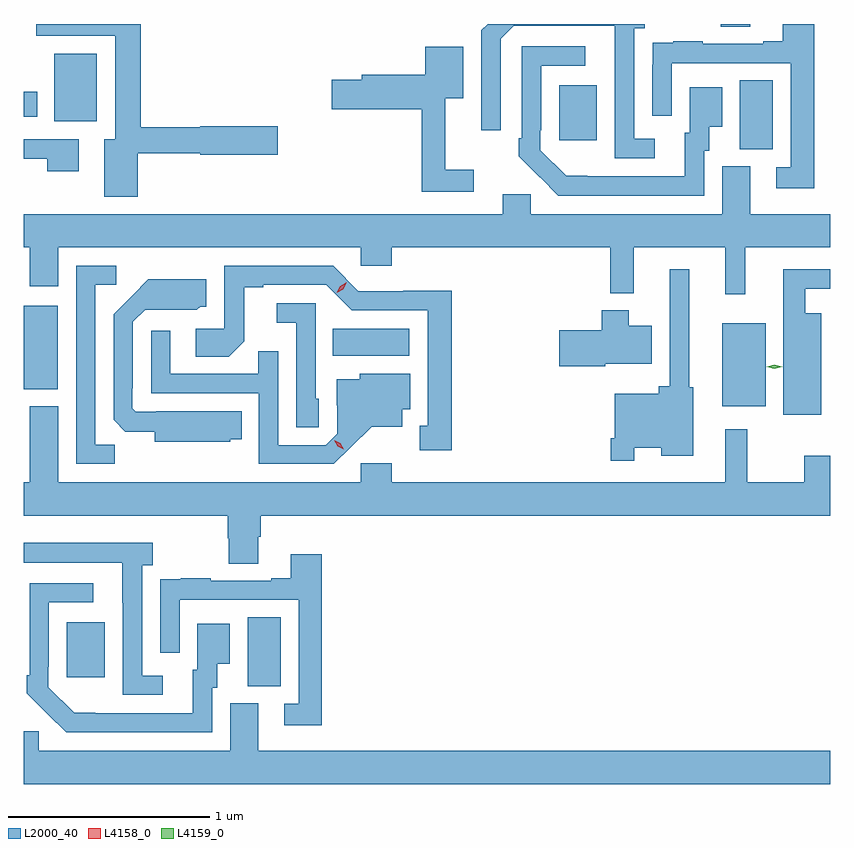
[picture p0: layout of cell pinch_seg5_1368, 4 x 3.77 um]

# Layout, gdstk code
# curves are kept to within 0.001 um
import gdstk
lib = gdstk.Library(unit=1e-6, precision=1e-09)
def R(c, l, rs):  # rectangles x0, y0, x1, y1
    for r in rs: c.add(gdstk.rectangle(r[:2], r[2:], *l))
def P(c, l, *ps):  # polygons
    for p in ps: c.add(gdstk.Polygon(p, *l))
L2000_40 = (2000, 40)
L4158_0 = (4158, 0)
L4159_0 = (4159, 0)

pinch_seg5_1368 = lib.new_cell('pinch_seg5_1368')
R(pinch_seg5_1368, L2000_40, [(131.84,905.197,132.004,905.54), (130.943,905.241,131.131,905.515), (134.195,906.587,134.41,906.997), (130.73,906.671,130.897,907.084), (132.262,906.836,132.643,906.97), (134.282,907.861,134.446,908.204), (133.385,907.905,133.573,908.179), (130.88,908,131.092,908.335), (130.73,908.024,130.795,908.146), (134.188,908.47,134.335,908.483)])
P(pinch_seg5_1368, L2000_40, [(134.651,908.483),(134.495,908.483),(134.495,908.398),(134.399,908.398),(134.399,908.385),(134.099,908.385),(134.099,908.398),(133.951,908.398),(133.951,908.391),(133.849,908.391),(133.849,908.282),(133.848,908.282),(133.848,908.028),(133.944,908.028),(133.944,908.289),(134.535,908.289),(134.535,907.773),(134.463,907.773),(134.463,907.668),(134.651,907.668)],
  [(131.296,907.842),(131.604,907.842),(131.604,907.834),(131.989,907.834),(131.989,907.976),(131.604,907.976),(131.604,907.97),(131.309,907.97),(131.309,908.483),(130.791,908.483),(130.791,908.424),(131.183,908.424),(131.183,907.912),(131.129,907.912),(131.129,907.626),(131.296,907.626)],
  [(133.861,907.914),(133.758,907.914),(133.758,908.462),(133.81,908.462),(133.81,908.483),(133.031,908.483),(132.999,908.451),(132.999,907.956),(133.095,907.956),(133.095,908.409),(133.161,908.475),(133.661,908.475),(133.662,907.818),(133.861,907.818)],
  [(134.106,907.854),(134.131,907.854),(134.131,907.973),(134.194,907.973),(134.194,908.17),(134.033,908.17),(134.033,907.944),(134.009,907.944),(134.009,907.728),(133.422,907.729),(133.293,907.857),(133.293,907.957),(133.296,907.957),(133.296,908.277),(133.516,908.277),(133.516,908.373),(133.2,908.373),(133.2,907.915),(133.185,907.915),(133.185,907.827),(133.382,907.632),(134.106,907.632)],
  [(132.961,907.759),(132.821,907.759),(132.821,908.114),(132.91,908.114),(132.91,908.371),(132.722,908.371),(132.722,908.232),(132.407,908.232),(132.407,908.207),(132.258,908.207),(132.258,908.06),(132.703,908.06),(132.703,907.65),(132.961,907.65)],
  [(131.002,907.911),(130.73,907.911),(130.73,907.815),(130.846,907.815),(130.846,907.752),(131.002,907.752)],
  [(134.309,907.376),(134.73,907.376),(134.73,907.54),(134.335,907.54),(134.335,907.776),(134.195,907.776),(134.195,907.54),(133.245,907.54),(133.245,907.638),(133.106,907.638),(133.106,907.54),(130.73,907.54),(130.73,907.376),(130.76,907.376),(130.76,907.182),(130.9,907.182),(130.9,907.376),(132.402,907.376),(132.402,907.283),(132.554,907.283),(132.554,907.376),(133.639,907.376),(133.639,907.148),(133.757,907.148),(133.757,907.376),(134.21,907.376),(134.21,907.143),(134.309,907.143)],
  [(131.181,906.395),(131.085,906.395),(131.085,907.188),(131.188,907.188),(131.188,907.284),(130.989,907.284),(130.989,906.3),(131.181,906.3)],
  [(132.853,907.16),(132.612,907.16),(132.612,907.158),(132.39,907.158),(132.264,907.284),(131.724,907.284),(131.724,906.972),(131.583,906.972),(131.583,906.832),(131.747,906.832),(131.823,906.908),(131.823,907.176),(131.917,907.176),(131.917,907.188),(132.231,907.188),(132.357,907.062),(132.734,907.062),(132.734,906.489),(132.695,906.489),(132.695,906.369),(132.853,906.369)],
  [(133.759,906.38),(133.892,906.38),(133.892,906.341),(134.05,906.341),(134.05,906.681),(134.032,906.681),(134.032,907.267),(133.935,907.267),(133.935,906.685),(133.88,906.685),(133.88,906.649),(133.662,906.649),(133.662,906.427),(133.642,906.427),(133.642,906.315),(133.759,906.315)],
  [(134.686,907.048),(134.608,907.048),(134.608,907.17),(134.73,907.17),(134.73,907.266),(134.498,907.266),(134.498,906.545),(134.686,906.545)],
  [(131.754,906.422),(131.81,906.422),(131.81,906.562),(131.386,906.562),(131.386,906.558),(131.286,906.558),(131.268,906.576),(131.268,906.676),(131.271,906.676),(131.271,907.005),(131.331,907.065),(131.588,907.064),(131.604,907.08),(131.635,907.08),(131.635,907.216),(131.347,907.216),(131.175,907.042),(131.175,906.52),(131.234,906.461),(131.378,906.461),(131.378,906.41),(131.754,906.41)],
  [(132.192,906.624),(132.177,906.624),(132.177,907.098),(131.985,907.098),(131.985,907.001),(132.081,907.001),(132.081,906.481),(132.192,906.481)],
  [(133.614,906.797),(133.846,906.797),(133.846,906.985),(133.732,906.985),(133.732,907.063),(133.598,907.063),(133.598,906.963),(133.386,906.963),(133.386,906.785),(133.614,906.785)],
  [(132.352,906.383),(132.455,906.485),(132.607,906.485),(132.607,906.572),(132.646,906.572),(132.646,906.748),(132.396,906.748),(132.396,906.721),(132.281,906.721),(132.281,906.592),(132.285,906.592),(132.285,906.45),(132.228,906.393),(131.991,906.393),(131.991,906.86),(131.893,906.86),(131.893,906.747),(131.457,906.747),(131.457,906.961),(131.361,906.961),(131.361,906.651),(131.895,906.651),(131.895,906.3),(132.268,906.3)],
  [(131.893,905.938),(131.906,905.938),(131.906,906.044),(134.73,906.044),(134.73,906.34),(134.602,906.34),(134.602,906.208),(134.32,906.208),(134.32,906.472),(134.21,906.472),(134.21,906.208),(132.554,906.208),(132.554,906.304),(132.402,906.304),(132.402,906.208),(130.9,906.208),(130.9,906.586),(130.76,906.586),(130.76,906.208),(130.73,906.208),(130.73,906.044),(131.741,906.044),(131.741,905.931),(131.746,905.931),(131.746,905.806),(131.893,905.806)],
  [(131.419,905.25),(131.316,905.25),(131.316,905.798),(131.368,905.798),(131.368,905.908),(130.73,905.908),(130.73,905.811),(131.219,905.811),(131.219,905.611),(131.22,905.611),(131.22,905.154),(131.419,905.154)],
  [(132.209,905.851),(132.053,905.851),(132.053,905.734),(131.957,905.734),(131.957,905.721),(131.657,905.721),(131.657,905.734),(131.509,905.734),(131.509,905.727),(131.407,905.727),(131.407,905.618),(131.406,905.618),(131.406,905.364),(131.502,905.364),(131.502,905.625),(132.093,905.625),(132.093,905.109),(132.021,905.109),(132.021,905.004),(132.209,905.004)],
  [(131.664,905.19),(131.689,905.19),(131.689,905.309),(131.752,905.309),(131.752,905.506),(131.591,905.506),(131.591,905.28),(131.567,905.28),(131.567,905.064),(130.98,905.065),(130.851,905.193),(130.851,905.293),(130.854,905.293),(130.854,905.613),(131.074,905.613),(131.074,905.709),(130.758,905.709),(130.758,905.251),(130.743,905.251),(130.743,905.163),(130.94,904.968),(131.664,904.968)],
  [(134.73,904.876),(131.893,904.876),(131.893,905.112),(131.753,905.112),(131.753,904.876),(130.803,904.876),(130.803,904.974),(130.73,904.974),(130.73,904.712),(134.73,904.712)])
P(pinch_seg5_1368, L4158_0, [(132.283,907.149),(132.283,907.15),(132.3,907.182),(132.332,907.201),(132.332,907.201),(132.332,907.201),(132.315,907.168),(132.283,907.149)],
  [(132.317,906.372),(132.286,906.388),(132.269,906.417),(132.269,906.418),(132.269,906.418),(132.3,906.402),(132.317,906.372),(132.317,906.372)])
P(pinch_seg5_1368, L4159_0, [(134.454,906.773),(134.416,906.782),(134.416,906.783),(134.416,906.783),(134.454,906.793),(134.493,906.783),(134.493,906.783),(134.493,906.782)])

lib.write_gds('pinch_seg5_1368.gds')
